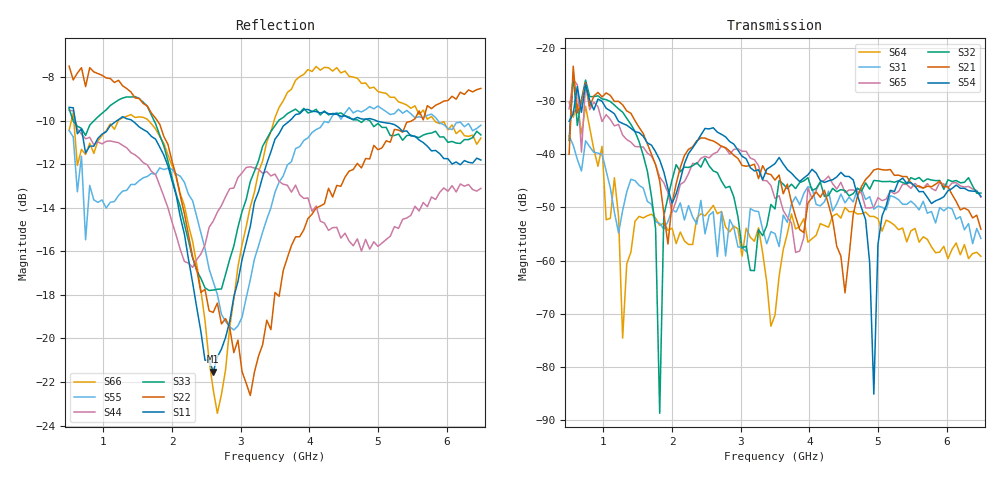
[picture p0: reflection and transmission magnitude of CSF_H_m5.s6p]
!Keysight Technologies,M9804A,MY58100912,A.14.10.03
!Date: Thursday, April 27, 2023 10:28:33
!Correction: S11(C  6-Port  )
!S12(C  6-Port  )
!S13(C  6-Port  )
!S14(C  6-Port  )
!S15(C  6-Port  )
!S16(C  6-Port  )
!S21(C  6-Port  )
!S22(C  6-Port  )
!S23(C  6-Port  )
!S24(C  6-Port  )
!S25(C  6-Port  )
!S26(C  6-Port  )
!S31(C  6-Port  )
!S32(C  6-Port  )
!S33(C  6-Port  )
!S34(C  6-Port  )
!S35(C  6-Port  )
!S36(C  6-Port  )
!S41(C  6-Port  )
!S42(C  6-Port  )
!S43(C  6-Port  )
!S44(C  6-Port  )
!S45(C  6-Port  )
!S46(C  6-Port  )
!S51(C  6-Port  )
!S52(C  6-Port  )
!S53(C  6-Port  )
!S54(C  6-Port  )
!S55(C  6-Port  )
!S56(C  6-Port  )
!S61(C  6-Port  )
!S62(C  6-Port  )
!S63(C  6-Port  )
!S64(C  6-Port  )
!S65(C  6-Port  )
!S66(C  6-Port  )
!S6P File: Measurement: :
# Hz S  RI  R 50
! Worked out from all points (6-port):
!   101 points, 500 MHz to 6.5 GHz, reference 50 ohm
!   strongest paths, dB at 500 MHz, 2 GHz, 3.5 GHz, 5 GHz, 6.5 GHz:
!     S54: -33.8, -49.2, -41.7, -57.0, -47.9
!     S21: -40.0, -49.2, -44.8, -42.7, -54.1
!     S32: -37.4, -44.8, -50.3, -45.0, -47.3
!     S65: -31.4, -50.9, -48.3, -48.1, -48.1
!     S31: -36.5, -50.4, -54.9, -49.7, -55.8
!     S64: -30.2, -53.9, -70.3, -52.1, -59.2
!   lowest |S11| = -21.5 dB at 2.6 GHz (marker M1), VSWR 1.18, Z = 42.5 + j2.17 ohm
!   |S11| at or under -10 dB: 589.8 MHz to 1.198 GHz (607.8 MHz wide, 68 % of centre); 1.419 GHz to 3.715 GHz (2.296 GHz wide, 89.5 % of centre); 4.974 GHz to end of sweep
